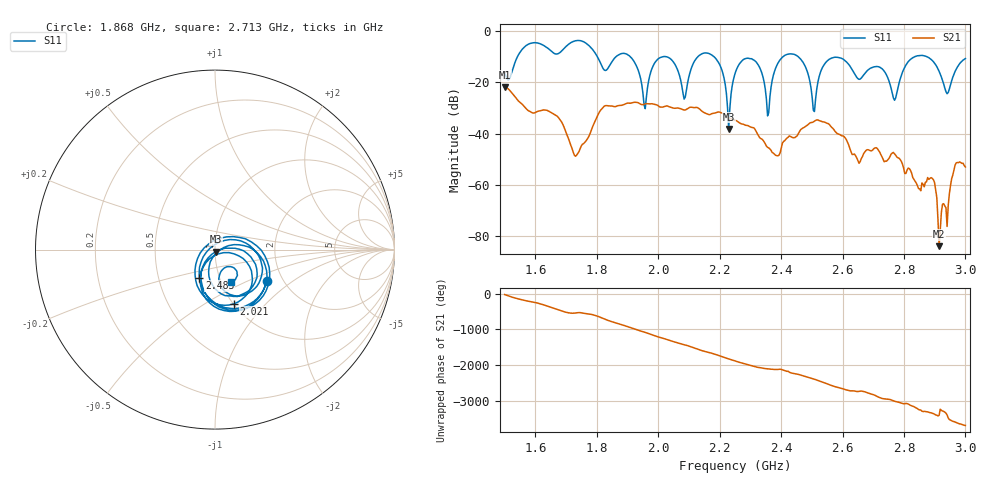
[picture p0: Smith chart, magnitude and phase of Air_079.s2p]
# HZ S RI R 50
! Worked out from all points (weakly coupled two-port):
!   404 points, 1.5 GHz to 3 GHz, reference 50 ohm
!   highest |S21| = -21.87 dB at 1.5 GHz (marker M1); lowest = -84.0 dB at 2.914 GHz (marker M2)
!   lowest |S11| = -38.2 dB at 2.23 GHz (marker M3), VSWR 1.02, Z = 50.6 - j1.09 ohm
!   |S11| at or under -10 dB: 2.182 GHz to 2.406 GHz (224 MHz wide, 9.77 % of centre); 2.456 GHz to 2.835 GHz (378.4 MHz wide, 14.3 % of centre); 2.875 GHz to end of sweep (the widest 3 of 7)
!   S12 and S22 are empty: the file has one direction only
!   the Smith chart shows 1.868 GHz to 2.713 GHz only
!   S11 on the Smith chart (normalised r, x): 1.868 GHz: 1.65, -0.65; 2.021 GHz: 1.01, -0.68; 2.483 GHz: 0.80, -0.26; 2.713 GHz: 1.12, -0.42
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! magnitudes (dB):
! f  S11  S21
! 1.5 GHz  -16.2  -21.9
! 1.753 GHz  -3.9  -44.2
! 1.868 GHz  -9.4  -29.1
! 1.958 GHz  -30.3  -28.4
! 2.002 GHz  -10.6  -29.4
! 2.021 GHz  -9.9  -29.4
! 2.084 GHz  -26.5  -30.8
! 2.177 GHz  -9.6  -32.1
! 2.23 GHz  -38.2  -33.8
! 2.252 GHz  -15.9  -34.9
! 2.315 GHz  -11.6  -38.4
! 2.356 GHz  -33.1  -45.4
! 2.386 GHz  -13.4  -48.6
! 2.483 GHz  -14.9  -37.0
! 2.501 GHz  -25.9  -35.7
! 2.565 GHz  -10.5  -37.6
! 2.713 GHz  -13.8  -45.9
! 2.751 GHz  -19.2  -49.8
! 2.892 GHz  -11.4  -57.5
! 2.914 GHz  -15.7  -84.0
! 2.94 GHz  -24.4  -76.3
! 3 GHz  -10.7  -53.1
